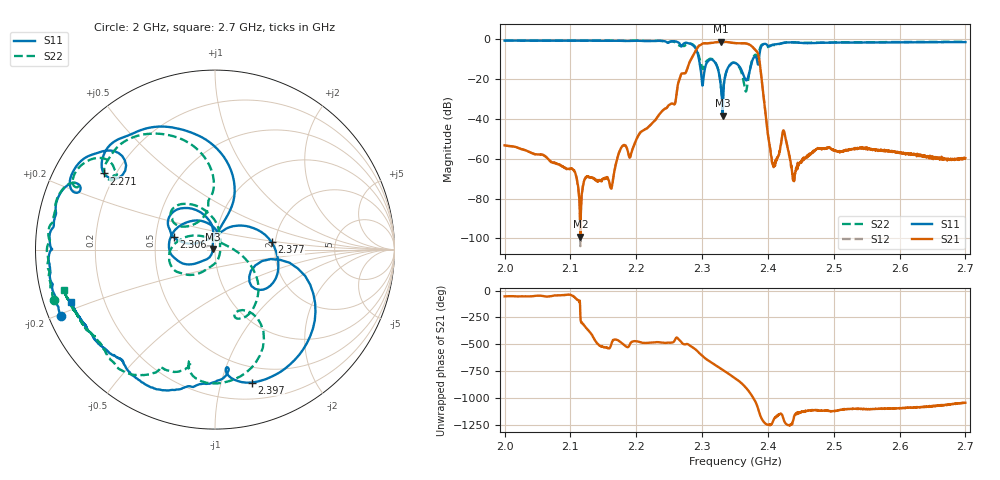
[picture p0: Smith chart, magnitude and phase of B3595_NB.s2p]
! Matrix data file written by TouchstoneData, EPCOS AG
! FILENAME: "B3595.NB.s2p"
! COMMENT: "(B3595.NB.s2p)"
! INFO: nport=2, nfreq=1601
! DATE: "Thu Jan 31 16:28:37 2013"
! USER: "Adrian Ma"
! port | pin | signal
!  1  |  2  |  IN
!  2  |  5  |  OUT
# MHZ S RI R 50
! freq  reS11 imS11  reS21 imS21  reS12 imS12  reS22 imS22
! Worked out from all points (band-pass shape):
!   1601 points, 2 GHz to 2.7 GHz, reference 50 ohm
!   highest |S21| = -1.19 dB at 2.329 GHz (marker M1); lowest = -99.3 dB at 2.115 GHz (marker M2)
!   |S21| within 3 dB of the highest: 2.293 GHz to 2.378 GHz (84.75 MHz wide, 3.63 % of centre)
!   lowest |S11| = -38.4 dB at 2.331 GHz (marker M3), VSWR 1.02, Z = 48.9 + j0.304 ohm
!   |S11| at or under -10 dB: 2.295 GHz to 2.377 GHz (81.78 MHz wide, 3.5 % of centre); 2.383168 GHz to 2.386326 GHz (3.158 MHz wide, 0.132 % of centre)
!   |S22| runs from -30.9 to -0.5 dB; largest |S21 - S12| = 0.0013
!   S11 on the Smith chart (normalised r, x): 2 GHz: 0.04, -0.21; 2.271 GHz: 0.16, +0.30; 2.306 GHz: 0.62, +0.09; 2.377 GHz: 1.91, +0.17; 2.397 GHz: 0.35, -1.25; 2.7 GHz: 0.08, -0.17
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2000  -0.8569 -0.3698  0.00129 -0.00176  0.00129 -0.00175  -0.8962 -0.2818
2103.25  -0.9055 -0.199  0.000362 -0.00041  0.000363 -0.000411  -0.9243 -0.1316
2115.062  -0.9097 -0.1855  -6.87e-06 8.46e-06  3.39e-06 -5.36e-06  -0.9241 -0.1187
2116.812  -0.9116 -0.1819  4.31e-05 9.88e-05  3.67e-05 9.54e-05  -0.9259 -0.116
2161.875  -0.925 -0.0705  -0.000144 -0.000103  -0.000147 -0.000103  -0.9355 -0.0158
2178.062  -0.9174 -0.00808  -0.00126 -0.00154  -0.00126 -0.00154  -0.9236 0.0419
2233.625  -0.8861 0.2524  -0.00618 -0.0105  -0.00617 -0.0105  -0.879 0.2862
2270.812  -0.6186 0.4245  -0.0986 -0.0987  -0.0985 -0.0985  -0.5534 0.4118
2293.562  0.0991 0.411  -0.5659 0.3  -0.5652 0.2994  -0.0296 0.4661
2306.25  -0.2311 0.0706  0.1145 0.7897  0.1138 0.7888  -0.2316 0.152
2329  -0.011 0.0547  0.8611 -0.1343  0.86 -0.1343  0.0285 0.0496
2331.188  -0.0116 0.00311  0.8176 -0.269  0.8164 -0.2687  0.0285 -0.0126
2350  -0.2439 0.0759  -0.0793 -0.802  -0.0791 -0.801  -0.2559 -0.0374
2365.75  0.0154 0.0974  -0.7949 -0.0114  -0.7939 -0.0116  0.00354 0.0513
2377.125  0.3162 0.0402  0.046 0.6305  0.0454 0.6298  0.2413 -0.2373
2396.812  0.2035 -0.7409  -0.0108 -0.00343  -0.0108 -0.00348  -0.1459 -0.6279
2408.625  -0.0206 -0.7438  -0.000354 -0.000503  -0.00036 -0.00049  -0.2806 -0.6687
2423.938  -0.2431 -0.782  -0.00264 -0.00436  -0.00263 -0.00437  -0.4335 -0.6966
2438.812  -0.4329 -0.719  -0.000176 -0.00027  -0.000155 -0.000279  -0.5846 -0.6099
2466.812  -0.5428 -0.6012  0.00116 -0.000749  0.00116 -0.000753  -0.6577 -0.5019
2583.625  -0.7391 -0.4038  0.00148 -0.000492  0.00147 -0.000484  -0.7936 -0.3264
2700  -0.8046 -0.2915  0.000856 0.000593  0.000849 0.000593  -0.8435 -0.2275
